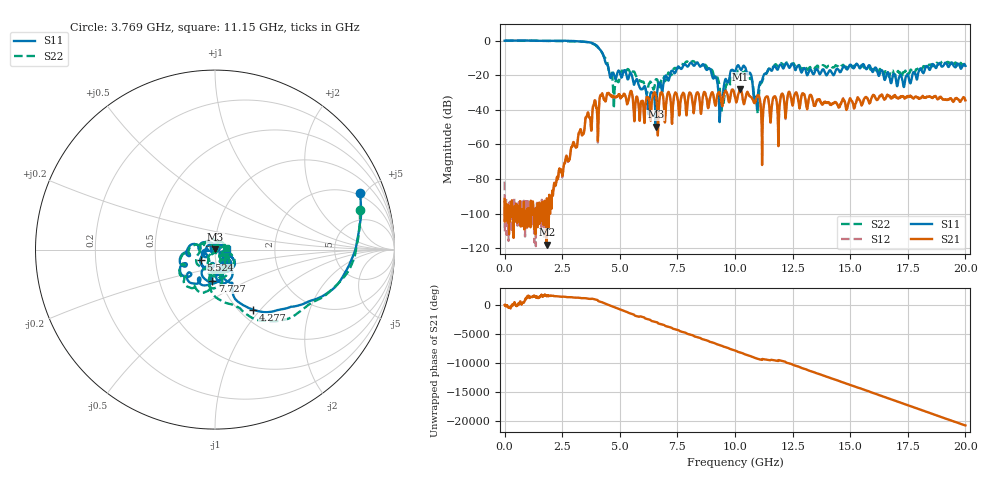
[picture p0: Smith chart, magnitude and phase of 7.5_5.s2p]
#  HZ  S  RI  R  50.00
! Rohde & Schwarz Vector Network Analyzer
! Rohde-Schwarz,ZNB20-2Port,1311601062102128,3.60
! Created: UTC 4/29/2024, 2:54:44 PM
! freq[Hz]  re:S11  im:S11  re:S21  im:S21  re:S12  im:S12  re:S22  im:S22
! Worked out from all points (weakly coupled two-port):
!   2007 points, 100 kHz to 20 GHz, reference 50 ohm
!   highest |S21| = -28.01 dB at 10.22 GHz (marker M1); lowest = -117.9 dB at 1.825 GHz (marker M2)
!   lowest |S11| = -49.7 dB at 6.56 GHz (marker M3), VSWR 1.01, Z = 50.2 + j0.215 ohm
!   |S11| at or under -10 dB: 4.326 GHz to end of sweep
!   |S22| runs from -42.3 to 0.1 dB; largest |S21 - S12| = 0.0021
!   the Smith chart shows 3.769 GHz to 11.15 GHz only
!   S11 on the Smith chart (normalised r, x): 3.769 GHz: 1.80, +4.59; 4.277 GHz: 1.15, -0.91; 5.524 GHz: 0.85, -0.10; 7.727 GHz: 0.91, -0.33; 11.15 GHz: 1.14, +0.00
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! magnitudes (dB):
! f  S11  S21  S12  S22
! 100 kHz  0.0  -91.3  -81.4  0.1
! 1.825 GHz  -0.1  -117.9  -98.7  -0.2
! 3.34 GHz  -0.6  -53.9  -53.6  -0.6
! 3.769 GHz  -1.2  -51.9  -52.0  -1.5
! 4.277 GHz  -8.1  -32.3  -32.1  -8.4
! 4.776 GHz  -20.9  -32.5  -32.4  -28.1
! 5.524 GHz  -20.1  -30.3  -30.4  -19.1
! 6.56 GHz  -49.7  -31.6  -31.5  -22.6
! 6.67 GHz  -25.5  -44.9  -44.8  -24.8
! 7.727 GHz  -15.2  -30.6  -30.6  -13.7
! 8.893 GHz  -16.1  -34.4  -34.4  -16.8
! 9.382 GHz  -38.0  -33.5  -33.5  -34.0
! 10 GHz  -18.5  -32.5  -32.4  -19.9
! 10.22 GHz  -16.3  -28.0  -28.0  -17.1
! 10.66 GHz  -18.7  -32.4  -32.3  -21.8
! 10.9 GHz  -32.8  -34.7  -34.8  -34.5
! 11.15 GHz  -23.8  -44.5  -44.7  -24.4
! 11.37 GHz  -18.8  -32.2  -32.3  -19.1
! 11.87 GHz  -16.3  -54.9  -56.2  -14.6
! 13.34 GHz  -18.0  -32.6  -32.7  -15.3
! 16.67 GHz  -19.1  -31.8  -31.9  -20.6
! 20 GHz  -14.6  -34.5  -34.8  -14.3
